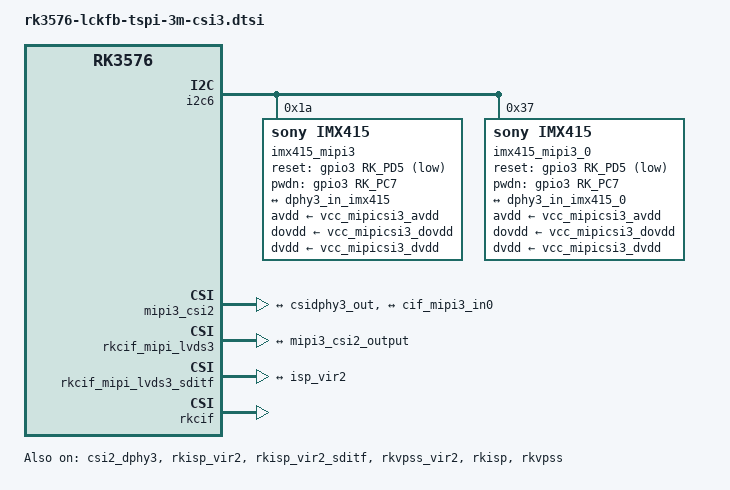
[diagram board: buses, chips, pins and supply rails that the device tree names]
/********************************************************************
 * SPDX-License-Identifier: (GPL-2.0+ OR MIT)
 * 
 * Copyright (c) 2023 Rockchip Electronics Co., Ltd.
 * Copyright (c) 2026 LCKFB <lckfb@sz-jlc.com>
 *********************************************************************
 * Wiki-(Chinese)：https://wiki.lckfb.com/
 * Wiki-(English)：https://wiki.lckfb.com/en/
 *********************************************************************/
 
/*-----------------------------------------------------------
 * Camera Power Enable
 *----------------------------------------------------------*/
&vcc_1v2_mipi_csi {
	status = "okay";
};

&vcc_1v8_mipi_csi {
    status = "okay";
};

&vcc_2v8_mipi_csi {
    status = "okay";
};

/*-----------------------------------------------------------
 * Camera Link Configuration
 *----------------------------------------------------------*/
&i2c6 {
	status = "okay";
	pinctrl-0 = <&i2c6m1_xfer>;

	imx415_mipi3: imx415@1a {
        status = "okay";
		compatible = "sony,imx415";
		reg = <0x1a>;
		clocks = <&cru CLK_MIPI_CAMERAOUT_M2>;
        pinctrl-0 = <&cam_clk2m0_clk2>;
		clock-names = "xvclk";
		pinctrl-names = "default";
		power-domains = <&power RK3576_PD_VI>;

		avdd-supply = <&vcc_mipicsi3_avdd>;
		dovdd-supply = <&vcc_mipicsi3_dovdd>;
		dvdd-supply = <&vcc_mipicsi3_dvdd>;

		reset-gpios = <&gpio3 RK_PD5 GPIO_ACTIVE_LOW>;
		pwdn-gpios = <&gpio3 RK_PC7 GPIO_ACTIVE_HIGH>;

		rockchip,camera-module-index = <0>;
		rockchip,camera-module-facing = "back";
		rockchip,camera-module-name = "CMK-OT2022-PX1";
		rockchip,camera-module-lens-name = "IR0147-50IRC-8M-F20";

		port {
			imx415_dphy3_out0: endpoint {
				remote-endpoint = <&dphy3_in_imx415>;
				data-lanes = <1 2 3 4>;
			};
		};
	};

	imx415_mipi3_0: imx415-0@37 {
        status = "okay";
		compatible = "sony,imx415";
		reg = <0x37>;
		clocks = <&cru CLK_MIPI_CAMERAOUT_M2>;
        pinctrl-0 = <&cam_clk2m0_clk2>;
		clock-names = "xvclk";
		pinctrl-names = "default";
		power-domains = <&power RK3576_PD_VI>;

		avdd-supply = <&vcc_mipicsi3_avdd>;
		dovdd-supply = <&vcc_mipicsi3_dovdd>;
		dvdd-supply = <&vcc_mipicsi3_dvdd>;

		reset-gpios = <&gpio3 RK_PD5 GPIO_ACTIVE_LOW>;
		pwdn-gpios = <&gpio3 RK_PC7 GPIO_ACTIVE_HIGH>;

		rockchip,camera-module-index = <0>;
		rockchip,camera-module-facing = "back";
		rockchip,camera-module-name = "CMK-OT2022-PX1";
		rockchip,camera-module-lens-name = "IR0147-50IRC-8M-F20";

		port {
			imx415_0_dphy3_out0: endpoint {
				remote-endpoint = <&dphy3_in_imx415_0>;
				data-lanes = <1 2 3 4>;
			};
		};
	};

    /* Can continue to write other cameras by referring to imx415 configuration */
};



&csi2_dphy3 {
	status = "okay";

	ports {
		#address-cells = <1>;
		#size-cells = <0>;
		port@0 {
			reg = <0>;
			#address-cells = <1>;
			#size-cells = <0>;

			dphy3_in_imx415: endpoint@1 {
				reg = <1>;
				remote-endpoint = <&imx415_dphy3_out0>;
				data-lanes = <1 2 3 4>;
			};
            
            dphy3_in_imx415_0: endpoint@2 {
                reg = <2>;
                remote-endpoint = <&imx415_0_dphy3_out0>;
                data-lanes = <1 2 3 4>;
            };

            /* Can continue to write other cameras by referring to imx415 configuration */
			
		};
		port@1 {
			reg = <1>;
			#address-cells = <1>;
			#size-cells = <0>;

			csidphy3_out: endpoint@0 {
				reg = <0>;
				remote-endpoint = <&mipi3_csi2_input>;
			};
		};
	};
};


&mipi3_csi2 {
	status = "okay";

	ports {
		#address-cells = <1>;
		#size-cells = <0>;

		port@0 {
			reg = <0>;
			#address-cells = <1>;
			#size-cells = <0>;

			mipi3_csi2_input: endpoint@1 {
				reg = <1>;
				remote-endpoint = <&csidphy3_out>;
			};
		};

		port@1 {
			reg = <1>;
			#address-cells = <1>;
			#size-cells = <0>;

			mipi3_csi2_output: endpoint@0 {
				reg = <0>;
				remote-endpoint = <&cif_mipi3_in0>;
			};
		};
	};
};

&rkcif_mipi_lvds3 {
	status = "okay";

	port {
		cif_mipi3_in0: endpoint {
			remote-endpoint = <&mipi3_csi2_output>;
		};
	};
};

&rkcif_mipi_lvds3_sditf {
	status = "okay";

	port {
		mipi3_lvds_sditf: endpoint {
			remote-endpoint = <&isp_vir2>;
		};
	};
};

&rkisp_vir2 {
	status = "okay";

	port {
		#address-cells = <1>;
		#size-cells = <0>;

		isp_vir2: endpoint@0 {
			reg = <0>;
			remote-endpoint = <&mipi3_lvds_sditf>;
		};
	};
};


/*-----------------------------------------------------------
 * MIPI-CSI-3 Link Virtual Interface Enable
 *----------------------------------------------------------*/
&rkisp_vir2_sditf {
	status = "okay";
};

&rkvpss_vir2 {
	status = "okay";
};

/*-----------------------------------------------------------
 * General Configuration
 *----------------------------------------------------------*/
&rkcif {
	status = "okay";
};

&rkcif_mmu {
	status = "okay";
};

&rkisp {
	status = "okay";
};

&rkisp_mmu {
	status = "okay";
};

&rkvpss {
	status = "okay";
};

&rkvpss_mmu {
	status = "okay";
};
